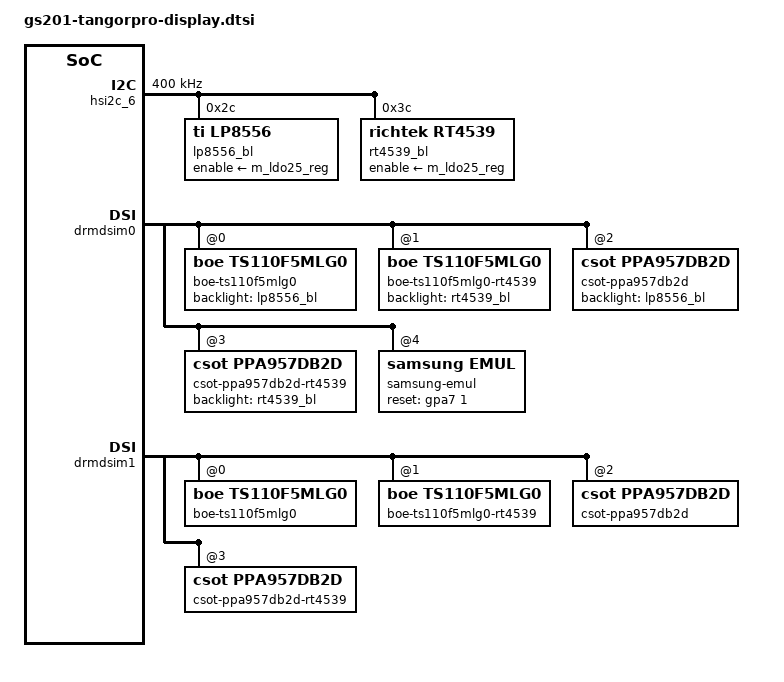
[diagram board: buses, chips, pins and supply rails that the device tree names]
// SPDX-License-Identifier: GPL-2.0-only
/*
 * Display nodes for tangorpro-related boards.
 *
 * Copyright 2022 Google LLC
 *
 */
#include "gs201-tangorpro-display-constants.dtsi"

&hsi2c_6 {
	#address-cells = <1>;
	#size-cells = <0>;
	status = "okay";
	clock-frequency = <400000>;

	lp8556_bl: backlight@2c {
		compatible = "ti,lp8556";
		reg = <0x2c>;

		bl-name = "lcd-bl";
		enable-supply = <&m_ldo25_reg>;
		dev-ctrl = /bits/ 8 <0x81>;

		/* 5 LED strings enabled */
		led-string-en = /bits/ 8 <0x1f>;

		/* set maximum current at 23mA */
		rom_cfg1 {
			rom-addr = /bits/ 8 <0xa1>;
			rom-val = /bits/ 8 <0x4f>;
		};

		/* PWM output phase config for 5 LED strings */
		rom_cfg5 {
			rom-addr = /bits/ 8 <0xa5>;
			rom-val = /bits/ 8 <0x14>;
		};
	};
	rt4539_bl: backlight@3c {
		compatible = "richtek,rt4539";
		reg = <0x3c>;

		bl-name = "lcd-bl";
		enable-supply = <&m_ldo25_reg>;

		bit-selection = /bits/ 8 <12>;

		/* 28% (140 nits) initial brightness */
		initial-brightness = /bits/ 16 <1146>;

		/* DC Mode */
		dimming-mode = /bits/ 8 <0x04>;

		/* 1225kHz */
		boost-switch-freq = /bits/ 8 <0x0c>;

		/* 0.5 us */
		fade-in-out-time-ctrl = /bits/ 8 <0x00>;

		/* 8 ms */
		slope-time-ctrl = /bits/ 8 <0x02>;

		/* no filter */
		slope-time-filter = /bits/ 8 <0x00>;

		/* max current 23mA */
		current-max = /bits/ 8 <0x9b>;

		/* PWM signal multiplied with I2C */
		brightness-control = /bits/ 8 <0x02>;

		/* 5 LEDS */
		enabled-leds = /bits/ 8 <0x3e>;

		/* 25V */
		boost-ovp-selection = /bits/ 8 <0x0f>;
		led-short-protection;
		pfm-enable;
	};
};

&drmdecon0 {
	override-hibernation;
};

&dsim_modes {
	dsim-modes {
		1600x2560 {
			mode-name = "1600x2560";
			pmsk = <
				0x2 0xA6 0x2 0x2DAB /* p m s k */
				>;
			hs-clk = <1021>;
			esc-clk = <20>;
		};
	};
};

&drmdsim0 {
	status = "ok";
	#address-cells = <1>;
	#size-cells = <0>;

	boe_ts110f5mlg0_m0: panel@0 {
		compatible = "boe,ts110f5mlg0";
		label = "boe-ts110f5mlg0";
		channel = <0>;
		touch = <&spitouch>;
		dual-dsi = "main";
		backlight = <&lp8556_bl>;
		bl-ctrl-dcs;
		#include "gs201-tangorpro-display-common.dtsi"
	};
	boe_ts110f5mlg0_rt4539_m0: panel@1 {
		compatible = "boe,ts110f5mlg0";
		label = "boe-ts110f5mlg0-rt4539";
		channel = <0>;
		touch = <&spitouch>;
		dual-dsi = "main";
		backlight = <&rt4539_bl>;
		#include "gs201-tangorpro-display-common.dtsi"
	};
	csot_ppa957db2d_m0: panel@2 {
		compatible = "csot,ppa957db2d";
		label = "csot-ppa957db2d";
		channel = <0>;
		touch = <&spitouch>;
		dual-dsi = "main";
		backlight = <&lp8556_bl>;
		bl-ctrl-dcs;
		#include "gs201-tangorpro-display-common.dtsi"
	};
	csot_ppa957db2d_rt4539_m0: panel@3 {
		compatible = "csot,ppa957db2d";
		label = "csot-ppa957db2d-rt4539";
		channel = <0>;
		touch = <&spitouch>;
		dual-dsi = "main";
		backlight = <&rt4539_bl>;
		#include "gs201-tangorpro-display-common.dtsi"
	};
	panel@4 {
		compatible = "samsung,emul";
		label = "samsung-emul";
		channel = <0>;

		/* reset, power */
		reset-gpios = <&gpa7 1 GPIO_ACTIVE_HIGH>;
	};
};

&drmdsim1 {
	status = "ok";
	#address-cells = <1>;
	#size-cells = <0>;

	boe_ts110f5mlg0_m1: panel@0 {
		compatible = "boe,ts110f5mlg0";
		label = "boe-ts110f5mlg0";
		channel = <0>;
		touch = <&spitouch>;
		dual-dsi = "sec";
	};
	boe_ts110f5mlg0_rt4539_m1: panel@1 {
		compatible = "boe,ts110f5mlg0";
		label = "boe-ts110f5mlg0-rt4539";
		channel = <0>;
		touch = <&spitouch>;
		dual-dsi = "sec";
	};
	csot_ppa957db2d_m1: panel@2 {
		compatible = "csot,ppa957db2d";
		label = "csot-ppa957db2d";
		channel = <0>;
		touch = <&spitouch>;
		dual-dsi = "sec";
	};
	csot_ppa957db2d_rt4539_m1: panel@3 {
		compatible = "csot,ppa957db2d";
		label = "csot-ppa957db2d-rt4539";
		channel = <0>;
		touch = <&spitouch>;
		dual-dsi = "sec";
	};
};
